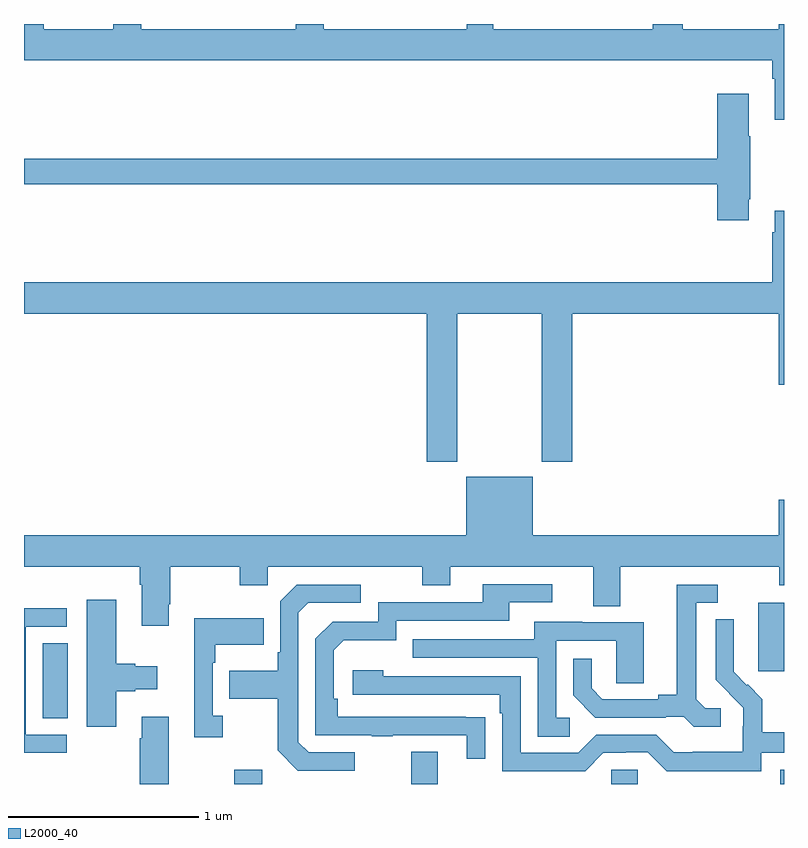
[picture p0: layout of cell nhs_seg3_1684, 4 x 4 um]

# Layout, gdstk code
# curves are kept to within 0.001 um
import gdstk
lib = gdstk.Library(unit=1e-6, precision=1e-09)
def R(c, l, rs):  # rectangles x0, y0, x1, y1
    for r in rs: c.add(gdstk.rectangle(r[:2], r[2:], *l))
def P(c, l, *ps):  # polygons
    for p in ps: c.add(gdstk.Polygon(p, *l))
L2000_40 = (2000, 40)

nhs_seg3_1684 = lib.new_cell('nhs_seg3_1684')
R(nhs_seg3_1684, L2000_40, [(198.106,738.4,198.253,738.475), (199.037,738.4,199.177,738.571), (200.091,738.4,200.229,738.474), (200.981,738.4,201,738.475), (197.099,738.745,197.23,739.142), (200.864,738.993,201,739.354)])
P(nhs_seg3_1684, L2000_40, [(201,742.4),(200.972,742.4),(200.972,742.372),(200.468,742.372),(200.468,742.4),(200.308,742.4),(200.308,742.372),(199.471,742.372),(199.471,742.4),(199.331,742.4),(199.331,742.372),(198.577,742.372),(198.577,742.4),(198.43,742.4),(198.43,742.372),(197.616,742.372),(197.616,742.4),(197.47,742.4),(197.47,742.372),(197.103,742.372),(197.103,742.4),(197,742.4),(197,742.208),(200.939,742.208),(200.939,742.112),(200.951,742.112),(200.951,741.897),(201,741.897)],
  [(200.815,741.478),(200.823,741.478),(200.823,741.809),(200.815,741.809),(200.815,742.033),(200.648,742.033),(200.648,741.692),(197,741.692),(197,741.556),(200.648,741.556),(200.648,741.366),(200.815,741.366)],
  [(199.281,740.876),(199.726,740.876),(199.726,740.097),(199.886,740.097),(199.886,740.876),(200.972,740.876),(200.972,740.502),(201,740.502),(201,741.418),(200.951,741.418),(200.951,741.305),(200.939,741.305),(200.939,741.04),(197,741.04),(197,740.876),(199.121,740.876),(199.121,740.097),(199.281,740.097)],
  [(197.761,739.345),(197.769,739.345),(197.769,739.544),(198.136,739.544),(198.136,739.445),(198.282,739.445),(198.282,739.544),(199.096,739.544),(199.096,739.445),(199.243,739.445),(199.243,739.544),(199.997,739.544),(199.997,739.336),(200.137,739.336),(200.137,739.544),(200.974,739.544),(200.974,739.445),(201,739.445),(201,739.897),(200.972,739.897),(200.972,739.708),(199.678,739.708),(199.678,740.017),(199.328,740.017),(199.328,739.708),(197,739.708),(197,739.544),(197.609,739.544),(197.609,739.448),(197.621,739.448),(197.621,739.233),(197.761,739.233)],
  [(199.427,738.752),(198.65,738.753),(198.65,738.85),(198.63,738.85),(198.63,739.104),(198.683,739.157),(198.96,739.157),(198.96,739.26),(199.555,739.26),(199.555,739.356),(199.78,739.356),(199.78,739.452),(199.415,739.452),(199.415,739.356),(198.864,739.356),(198.864,739.254),(198.624,739.254),(198.534,739.164),(198.534,738.657),(198.829,738.657),(198.829,738.652),(198.941,738.652),(198.941,738.657),(199.331,738.657),(199.331,738.534),(199.427,738.534)],
  [(198.742,738.567),(198.498,738.567),(198.444,738.621),(198.444,739.302),(198.495,739.353),(198.772,739.353),(198.772,739.449),(198.435,739.449),(198.348,739.362),(198.348,739.093),(198.336,739.093),(198.336,738.997),(198.079,738.997),(198.079,738.85),(198.336,738.85),(198.336,738.577),(198.441,738.471),(198.742,738.471)],
  [(200.668,738.798),(200.586,738.798),(200.539,738.845),(200.539,739.353),(200.65,739.353),(200.65,739.449),(200.435,739.449),(200.435,738.869),(200.339,738.869),(200.339,738.846),(200.044,738.846),(199.987,738.903),(199.987,739.06),(199.89,739.06),(199.89,738.866),(200.006,738.75),(200.378,738.75),(200.378,738.753),(200.472,738.753),(200.524,738.701),(200.668,738.701)],
  [(197.485,738.887),(197.585,738.887),(197.585,738.899),(197.701,738.899),(197.701,739.021),(197.585,739.021),(197.585,739.034),(197.485,739.034),(197.485,739.369),(197.33,739.369),(197.33,738.702),(197.485,738.702)],
  [(197.224,738.66),(197.01,738.66),(197.01,739.227),(197.224,739.227),(197.224,739.326),(197,739.326),(197,738.564),(197.224,738.564)],
  [(198.046,738.758),(197.994,738.758),(197.994,739.037),(198.007,739.037),(198.007,739.133),(198.263,739.133),(198.263,739.273),(197.897,739.273),(197.897,738.645),(198.046,738.645)],
  [(200.88,738.564),(201,738.564),(201,738.673),(200.885,738.673),(200.885,738.847),(200.808,738.924),(200.805,738.921),(200.735,738.992),(200.736,739.268),(200.64,739.268),(200.64,738.95),(200.786,738.802),(200.786,738.705),(200.784,738.705),(200.784,738.571),(200.521,738.571),(200.521,738.567),(200.421,738.567),(200.328,738.66),(200.013,738.66),(199.917,738.564),(199.614,738.564),(199.614,738.966),(198.89,738.966),(198.89,739),(198.729,739),(198.729,738.87),(199.505,738.87),(199.505,738.773),(199.518,738.773),(199.518,738.468),(199.953,738.468),(200.049,738.564),(200.168,738.564),(200.168,738.567),(200.283,738.567),(200.383,738.467),(200.88,738.467)],
  [(199.873,738.75),(199.8,738.75),(199.8,739.155),(200.118,739.155),(200.118,738.931),(200.263,738.931),(200.263,739.251),(199.939,739.251),(199.939,739.255),(199.685,739.255),(199.685,739.161),(199.045,739.161),(199.045,739.065),(199.704,739.065),(199.704,738.649),(199.873,738.649)],
  [(197.761,738.754),(197.621,738.754),(197.621,738.641),(197.609,738.641),(197.609,738.4),(197.761,738.4)])

lib.write_gds('nhs_seg3_1684.gds')
